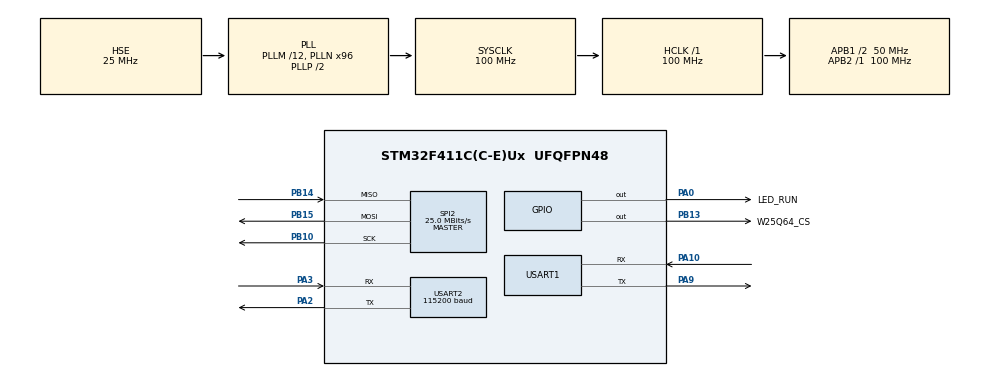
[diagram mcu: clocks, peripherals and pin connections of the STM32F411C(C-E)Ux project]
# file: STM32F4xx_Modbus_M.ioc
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Dma.Request0=USART1_TX
Dma.Request1=SPI2_TX
Dma.Request2=SPI2_RX
Dma.SPI2_RX.2.Direction=DMA_PERIPH_TO_MEMORY
Dma.SPI2_RX.2.FIFOMode=DMA_FIFOMODE_DISABLE
Dma.SPI2_RX.2.Instance=DMA1_Stream3
Dma.SPI2_RX.2.MemDataAlignment=DMA_MDATAALIGN_BYTE
Dma.SPI2_RX.2.MemInc=DMA_MINC_ENABLE
Dma.SPI2_RX.2.Mode=DMA_NORMAL
Dma.SPI2_RX.2.PeriphDataAlignment=DMA_PDATAALIGN_BYTE
Dma.SPI2_RX.2.PeriphInc=DMA_PINC_DISABLE
Dma.SPI2_RX.2.Priority=DMA_PRIORITY_LOW
Dma.SPI2_TX.1.Direction=DMA_MEMORY_TO_PERIPH
Dma.SPI2_TX.1.FIFOMode=DMA_FIFOMODE_DISABLE
Dma.SPI2_TX.1.Instance=DMA1_Stream4
Dma.SPI2_TX.1.MemDataAlignment=DMA_MDATAALIGN_BYTE
Dma.SPI2_TX.1.MemInc=DMA_MINC_ENABLE
Dma.SPI2_TX.1.Mode=DMA_NORMAL
Dma.SPI2_TX.1.PeriphDataAlignment=DMA_PDATAALIGN_BYTE
Dma.SPI2_TX.1.PeriphInc=DMA_PINC_DISABLE
Dma.SPI2_TX.1.Priority=DMA_PRIORITY_LOW
Dma.USART1_TX.0.Direction=DMA_MEMORY_TO_PERIPH
Dma.USART1_TX.0.FIFOMode=DMA_FIFOMODE_DISABLE
Dma.USART1_TX.0.Instance=DMA2_Stream7
Dma.USART1_TX.0.MemDataAlignment=DMA_MDATAALIGN_BYTE
Dma.USART1_TX.0.MemInc=DMA_MINC_ENABLE
Dma.USART1_TX.0.Mode=DMA_NORMAL
Dma.USART1_TX.0.PeriphDataAlignment=DMA_PDATAALIGN_BYTE
Dma.USART1_TX.0.PeriphInc=DMA_PINC_DISABLE
Dma.USART1_TX.0.Priority=DMA_PRIORITY_LOW
FREERTOS.Tasks01=defaultTask,24,128,StartDefaultTask,Default,NULL,Dynamic,NULL,NULL
Mcu.Family=STM32F4
Mcu.Name=STM32F411C(C-E)Ux
Mcu.Package=UFQFPN48
NVIC.DMA1_Stream3_IRQn=true\:5\:0\:false\:false\:true\:true\:false\:true\:true
NVIC.DMA1_Stream4_IRQn=true\:5\:0\:false\:false\:true\:true\:false\:true\:true
NVIC.DMA2_Stream7_IRQn=true\:5\:0\:false\:false\:true\:true\:false\:true\:true
NVIC.PriorityGroup=NVIC_PRIORITYGROUP_4
NVIC.SPI2_IRQn=true\:5\:0\:false\:false\:true\:true\:true\:true\:true
NVIC.TIM2_IRQn=true\:5\:0\:false\:false\:false\:true\:true\:true\:true
NVIC.TIM4_IRQn=true\:15\:0\:false\:false\:true\:false\:false\:true\:true
NVIC.TimeBase=TIM4_IRQn
NVIC.TimeBaseIP=TIM4
NVIC.USART1_IRQn=true\:5\:0\:false\:false\:true\:true\:true\:true\:true
NVIC.USART2_IRQn=true\:5\:0\:false\:false\:false\:true\:true\:true\:true
PA0-WKUP.GPIO_Label=LED_RUN
PA0-WKUP.Signal=GPIO_Output
PA10.Mode=Asynchronous
PA10.Signal=USART1_RX
PA13.Mode=Serial_Wire
PA13.Signal=SYS_JTMS-SWDIO
PA14.Mode=Serial_Wire
PA14.Signal=SYS_JTCK-SWCLK
PA2.Mode=Asynchronous
PA2.Signal=USART2_TX
PA3.Mode=Asynchronous
PA3.Signal=USART2_RX
PA9.Mode=Asynchronous
PA9.Signal=USART1_TX
PB10.Mode=Full_Duplex_Master
PB10.Signal=SPI2_SCK
PB13.GPIO_Label=W25Q64_CS
PB13.GPIO_Speed=GPIO_SPEED_FREQ_HIGH
PB13.PinState=GPIO_PIN_SET
PB13.Signal=GPIO_Output
PB14.Mode=Full_Duplex_Master
PB14.Signal=SPI2_MISO
PB15.Mode=Full_Duplex_Master
PB15.Signal=SPI2_MOSI
PH0\ -\ OSC_IN.Mode=HSE-External-Oscillator
PH0\ -\ OSC_IN.Signal=RCC_OSC_IN
PH1\ -\ OSC_OUT.Mode=HSE-External-Oscillator
PH1\ -\ OSC_OUT.Signal=RCC_OSC_OUT
ProjectManager.HeapSize=0x200
ProjectManager.StackSize=0x800
ProjectManager.TargetToolchain=MDK-ARM V5.32
RCC.48MHZClocksFreq_Value=50000000
RCC.AHBFreq_Value=100000000
RCC.APB1CLKDivider=RCC_HCLK_DIV2
RCC.APB1Freq_Value=50000000
RCC.APB1TimFreq_Value=100000000
RCC.APB2Freq_Value=100000000
RCC.APB2TimFreq_Value=100000000
RCC.CortexFreq_Value=100000000
RCC.HCLKFreq_Value=100000000
RCC.HSE_VALUE=25000000
RCC.HSI_VALUE=16000000
RCC.LSE_VALUE=32768
RCC.PLLM=12
RCC.PLLN=96
RCC.PLLSourceVirtual=RCC_PLLSOURCE_HSE
RCC.SYSCLKFreq_VALUE=100000000
RCC.SYSCLKSource=RCC_SYSCLKSOURCE_PLLCLK
RCC.VCOOutputFreq_Value=200000000
SPI2.BaudRatePrescaler=SPI_BAUDRATEPRESCALER_2
SPI2.CalculateBaudRate=25.0 MBits/s
SPI2.Direction=SPI_DIRECTION_2LINES
SPI2.Mode=SPI_MODE_MASTER
SPI2.VirtualType=VM_MASTER
USART1.VirtualMode=VM_ASYNC
USART2.BaudRate=115200
USART2.VirtualMode=VM_ASYNC
VP_FREERTOS_VS_CMSIS_V2.Mode=CMSIS_V2
VP_SYS_VS_tim4.Mode=TIM4
VP_TIM2_VS_ClockSourceINT.Mode=Internal
board=custom

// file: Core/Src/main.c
/* USER CODE BEGIN Header */
/**
  ******************************************************************************
  * @file           : main.c
  * @brief          : Main program body
  ******************************************************************************
  * @attention
  *
  * Copyright (c) 2026 STMicroelectronics.
  * All rights reserved.
  *
  * This software is licensed under terms that can be found in the LICENSE file
  * in the root directory of this software component.
  * If no LICENSE file comes with this software, it is provided AS-IS.
  *
  ******************************************************************************
  */
/* USER CODE END Header */
#include "main.h"
#include "cmsis_os.h"
#include "dma.h"
#include "spi.h"
#include "tim.h"
#include "usart.h"
#include "gpio.h"

void SystemClock_Config(void);
void MX_FREERTOS_Init(void);

int main(void)
{

  /* MCU Configuration--------------------------------------------------------*/

  /* Reset of all peripherals, Initializes the Flash interface and the Systick. */
  HAL_Init();

  /* Configure the system clock */
  SystemClock_Config();

  /* Initialize all configured peripherals */
  MX_GPIO_Init();
  MX_DMA_Init();
  MX_TIM2_Init();
  MX_USART2_UART_Init();
  MX_USART1_UART_Init();
  MX_SPI2_Init();

  /* Init scheduler */
  osKernelInitialize();  /* Call init function for freertos objects (in cmsis_os2.c) */
  MX_FREERTOS_Init();

  /* Start scheduler */
  osKernelStart();

  /* We should never get here as control is now taken by the scheduler */

  /* Infinite loop */
  while (1)
  {

  }
}

void SystemClock_Config(void)
{
  RCC_OscInitTypeDef RCC_OscInitStruct = {0};
  RCC_ClkInitTypeDef RCC_ClkInitStruct = {0};

  /** Configure the main internal regulator output voltage
  */
  __HAL_RCC_PWR_CLK_ENABLE();
  __HAL_PWR_VOLTAGESCALING_CONFIG(PWR_REGULATOR_VOLTAGE_SCALE1);

  /** Initializes the RCC Oscillators according to the specified parameters
  * in the RCC_OscInitTypeDef structure.
  */
  RCC_OscInitStruct.OscillatorType = RCC_OSCILLATORTYPE_HSE;
  RCC_OscInitStruct.HSEState = RCC_HSE_ON;
  RCC_OscInitStruct.PLL.PLLState = RCC_PLL_ON;
  RCC_OscInitStruct.PLL.PLLSource = RCC_PLLSOURCE_HSE;
  RCC_OscInitStruct.PLL.PLLM = 12;
  RCC_OscInitStruct.PLL.PLLN = 96;
  RCC_OscInitStruct.PLL.PLLP = RCC_PLLP_DIV2;
  RCC_OscInitStruct.PLL.PLLQ = 4;
  if (HAL_RCC_OscConfig(&RCC_OscInitStruct) != HAL_OK)
  {
    Error_Handler();
  }

  /** Initializes the CPU, AHB and APB buses clocks
  */
  RCC_ClkInitStruct.ClockType = RCC_CLOCKTYPE_HCLK|RCC_CLOCKTYPE_SYSCLK
                              |RCC_CLOCKTYPE_PCLK1|RCC_CLOCKTYPE_PCLK2;
  RCC_ClkInitStruct.SYSCLKSource = RCC_SYSCLKSOURCE_PLLCLK;
  RCC_ClkInitStruct.AHBCLKDivider = RCC_SYSCLK_DIV1;
  RCC_ClkInitStruct.APB1CLKDivider = RCC_HCLK_DIV2;
  RCC_ClkInitStruct.APB2CLKDivider = RCC_HCLK_DIV1;

  if (HAL_RCC_ClockConfig(&RCC_ClkInitStruct, FLASH_LATENCY_3) != HAL_OK)
  {
    Error_Handler();
  }
}

void HAL_TIM_PeriodElapsedCallback(TIM_HandleTypeDef *htim)
{
  if (htim->Instance == TIM4)
  {
    HAL_IncTick();
  }
}

void Error_Handler(void)
{
  __disable_irq();
  while (1)
  {
  }
}

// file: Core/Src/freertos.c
/* USER CODE BEGIN Header */
/**
  ******************************************************************************
  * File Name          : freertos.c
  * Description        : Code for freertos applications
  ******************************************************************************
  * @attention
  *
  * Copyright (c) 2026 STMicroelectronics.
  * All rights reserved.
  *
  * This software is licensed under terms that can be found in the LICENSE file
  * in the root directory of this software component.
  * If no LICENSE file comes with this software, it is provided AS-IS.
  *
  ******************************************************************************
  */
/* USER CODE END Header */

#include "FreeRTOS.h"
#include "task.h"
#include "main.h"
#include "cmsis_os.h"

/* USER CODE BEGIN Includes */
#include "debug_printf.h"
//#include "qs_modbus_app.h"
#include "w25q64.h"
/* USER CODE END Includes */

/* Definitions for defaultTask */
osThreadId_t defaultTaskHandle;
const osThreadAttr_t defaultTask_attributes = {
  .name = "defaultTask",
  .stack_size = 128 * 4,
  .priority = (osPriority_t) osPriorityNormal,
};

void StartDefaultTask(void *argument);

void MX_FREERTOS_Init(void); /* (MISRA C 2004 rule 8.1) */

void MX_FREERTOS_Init(void) {

  /* Create the thread(s) */
  /* creation of defaultTask */
  defaultTaskHandle = osThreadNew(StartDefaultTask, NULL, &defaultTask_attributes);

  /* USER CODE BEGIN RTOS_THREADS */
  /* add threads, ... */
  vDebugTaskInit();
  //eQSModbusMasterTaskInit();
  /* USER CODE END RTOS_THREADS */

}

void StartDefaultTask(void *argument)
{
  /* USER CODE BEGIN StartDefaultTask */
  uint8_t id1;
  uint16_t id2;
  uint8_t ArrayWrite[] = {0x01, 0x02, 0x03, 0x04};
  uint8_t ArrayRead[4];
  W25Q64_Init();
  W25Q64_ReadID(&id1, &id2);
  W25Q64_SectorErase(0x00000);
  W25Q64_Write(0x000000, ArrayWrite, 4);
  W25Q64_Read(0x000000, ArrayRead, 4);
  /* Infinite loop */
  for(;;)
  {
    vDebugPrint("id1 = %02X, id2 = %02X\r\n", id1, id2);
    vDebugPrint("ArrayRead = %d, %d, %d, %d\r\n", ArrayRead[0], ArrayRead[1], ArrayRead[2], ArrayRead[3]);
    osDelay(1000);
  }
  /* USER CODE END StartDefaultTask */
}
